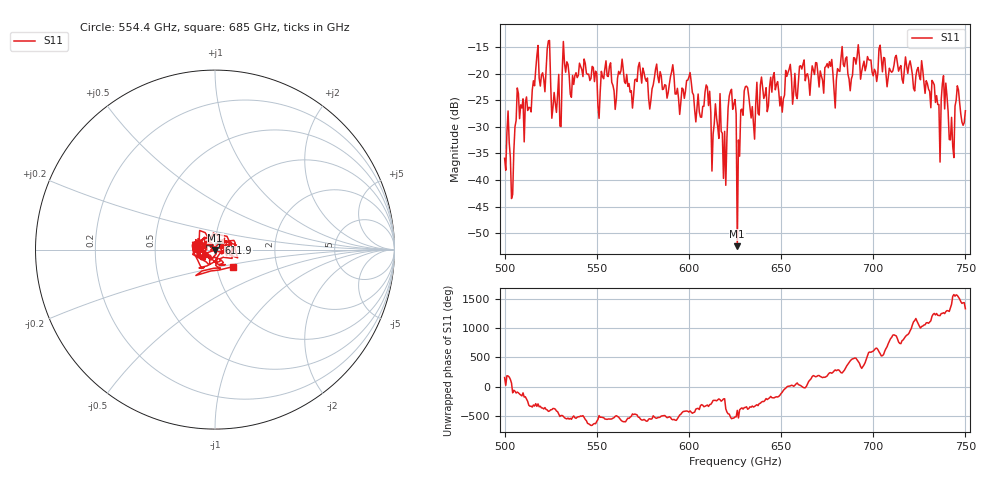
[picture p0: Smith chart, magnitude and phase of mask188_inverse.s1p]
!Created with skrf (http://scikit-rf.org).
# GHz S MA R 50.0
!freq magS11 angS11
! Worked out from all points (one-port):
!   401 points, 500 GHz to 750 GHz, reference 50 ohm
!   lowest |S11| = -52.4 dB at 626.2 GHz (marker M1), VSWR 1.00, Z = 50.2 - j0.173 ohm
!   |S11| at or under -10 dB: start of sweep to end of sweep
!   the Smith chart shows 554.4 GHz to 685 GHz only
!   S11 on the Smith chart (normalised r, x): 554.4 GHz: 0.81, +0.04; 611.9 GHz: 1.05, +0.08; 685 GHz: 1.20, -0.23
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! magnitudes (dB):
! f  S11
! 500 GHz  -35.9
! 504.4 GHz  -42.7
! 506.9 GHz  -22.7
! 513.8 GHz  -26.4
! 516.9 GHz  -19.3
! 523.8 GHz  -13.9
! 526.9 GHz  -23.6
! 531.2 GHz  -19.7
! 554.4 GHz  -19.2
! 562.5 GHz  -20.1
! 593.8 GHz  -22.8
! 610 GHz  -22.5
! 611.9 GHz  -27.3
! 619.4 GHz  -30.9
! 623.1 GHz  -23.0
! 625 GHz  -24.9
! 626.2 GHz  -52.4
! 631.2 GHz  -22.4
! 634.4 GHz  -26.2
! 656.2 GHz  -25.8
! 685 GHz  -17.2
! 687.5 GHz  -23.2
! 718.8 GHz  -20.0
! 735 GHz  -25.8
! 738.8 GHz  -26.7
! 742.5 GHz  -28.2
! 745.6 GHz  -22.3
! 750 GHz  -27.0
